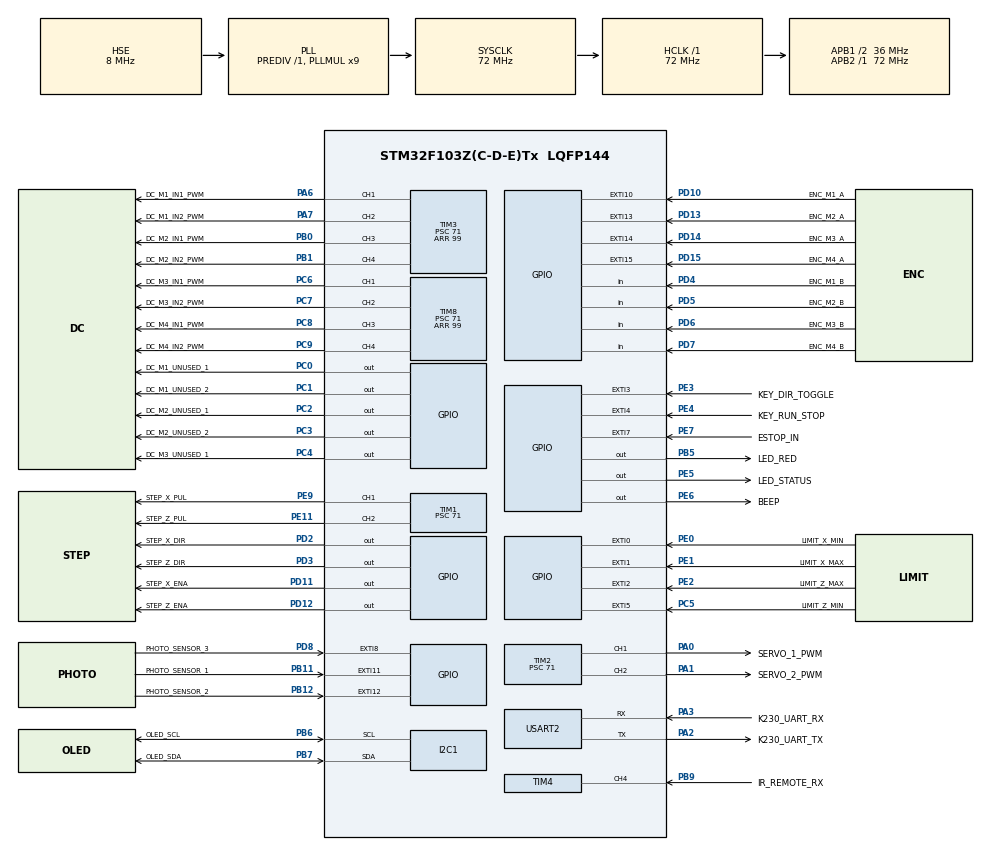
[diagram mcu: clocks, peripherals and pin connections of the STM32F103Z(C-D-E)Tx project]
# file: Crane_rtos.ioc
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Dma.Request0=USART2_RX
Dma.Request1=USART2_TX
Dma.USART2_RX.0.Direction=DMA_PERIPH_TO_MEMORY
Dma.USART2_RX.0.Instance=DMA1_Channel6
Dma.USART2_RX.0.MemDataAlignment=DMA_MDATAALIGN_BYTE
Dma.USART2_RX.0.MemInc=DMA_MINC_ENABLE
Dma.USART2_RX.0.Mode=DMA_NORMAL
Dma.USART2_RX.0.PeriphDataAlignment=DMA_PDATAALIGN_BYTE
Dma.USART2_RX.0.PeriphInc=DMA_PINC_DISABLE
Dma.USART2_RX.0.Priority=DMA_PRIORITY_LOW
Dma.USART2_TX.1.Direction=DMA_MEMORY_TO_PERIPH
Dma.USART2_TX.1.Instance=DMA1_Channel7
Dma.USART2_TX.1.MemDataAlignment=DMA_MDATAALIGN_BYTE
Dma.USART2_TX.1.MemInc=DMA_MINC_ENABLE
Dma.USART2_TX.1.Mode=DMA_NORMAL
Dma.USART2_TX.1.PeriphDataAlignment=DMA_PDATAALIGN_BYTE
Dma.USART2_TX.1.PeriphInc=DMA_PINC_DISABLE
Dma.USART2_TX.1.Priority=DMA_PRIORITY_LOW
FREERTOS.Tasks01=APP_CTRL,24,192,StartAppCtrlTask,Default,NULL,Dynamic,NULL,NULL;DC_MOTOR,32,256,StartDcMotorTask,Default,NULL,Dynamic,NULL,NULL;K230_RX,24,256,StartK230RxTask,Default,NULL,Dynamic,NULL,NULL;INPUT_EVT,32,192,StartInputEvtTask,Default,NULL,Dynamic,NULL,NULL;OLED,8,256,StartOledTask,Default,NULL,Dynamic,NULL,NULL;IR_REMOTE,24,192,StartInfraredTask,Default,NULL,Dynamic,NULL,NULL
FREERTOS.configTOTAL_HEAP_SIZE=12288
Mcu.Family=STM32F1
Mcu.Name=STM32F103Z(C-D-E)Tx
Mcu.Package=LQFP144
NVIC.DMA1_Channel6_IRQn=true\:5\:0\:false\:false\:true\:true\:false\:true\:true
NVIC.DMA1_Channel7_IRQn=true\:5\:0\:false\:false\:true\:true\:false\:true\:true
NVIC.EXTI0_IRQn=true\:5\:0\:false\:false\:true\:true\:true\:true\:true
NVIC.EXTI15_10_IRQn=true\:5\:0\:false\:false\:true\:true\:true\:true\:true
NVIC.EXTI1_IRQn=true\:5\:0\:false\:false\:true\:true\:true\:true\:true
NVIC.EXTI2_IRQn=true\:5\:0\:false\:false\:true\:true\:true\:true\:true
NVIC.EXTI3_IRQn=true\:5\:0\:false\:false\:true\:true\:true\:true\:true
NVIC.EXTI4_IRQn=true\:5\:0\:false\:false\:true\:true\:true\:true\:true
NVIC.EXTI9_5_IRQn=true\:5\:0\:false\:false\:true\:true\:true\:true\:true
NVIC.PriorityGroup=NVIC_PRIORITYGROUP_4
NVIC.TIM1_CC_IRQn=true\:5\:0\:false\:false\:true\:true\:true\:true\:true
NVIC.TIM4_IRQn=true\:5\:0\:false\:false\:true\:true\:true\:true\:true
NVIC.TIM5_IRQn=true\:15\:0\:false\:false\:true\:false\:false\:true\:true
NVIC.TimeBase=TIM5_IRQn
NVIC.TimeBaseIP=TIM5
NVIC.USART2_IRQn=true\:5\:0\:false\:false\:true\:true\:true\:true\:true
OSC_IN.Mode=HSE-External-Oscillator
OSC_IN.Signal=RCC_OSC_IN
OSC_OUT.Mode=HSE-External-Oscillator
OSC_OUT.Signal=RCC_OSC_OUT
PA0-WKUP.GPIO_Label=SERVO_1_PWM
PA0-WKUP.Signal=S_TIM2_CH1_ETR
PA1.GPIO_Label=SERVO_2_PWM
PA1.Signal=S_TIM2_CH2
PA13.Mode=Serial_Wire
PA13.Signal=SYS_JTMS-SWDIO
PA14.Mode=Serial_Wire
PA14.Signal=SYS_JTCK-SWCLK
PA2.GPIO_Label=K230_UART_TX
PA2.Mode=Asynchronous
PA2.Signal=USART2_TX
PA3.GPIO_Label=K230_UART_RX
PA3.Mode=Asynchronous
PA3.Signal=USART2_RX
PA6.GPIO_Label=DC_M1_IN1_PWM
PA6.Signal=S_TIM3_CH1
PA7.GPIO_Label=DC_M1_IN2_PWM
PA7.Signal=S_TIM3_CH2
PB0.GPIO_Label=DC_M2_IN1_PWM
PB0.Signal=S_TIM3_CH3
PB1.GPIO_Label=DC_M2_IN2_PWM
PB1.Signal=S_TIM3_CH4
PB11.GPIO_Label=PHOTO_SENSOR_1
PB11.GPIO_ModeDefaultEXTI=GPIO_MODE_IT_RISING_FALLING
PB11.GPIO_PuPd=GPIO_PULLUP
PB11.Signal=GPXTI11
PB12.GPIO_Label=PHOTO_SENSOR_2
PB12.GPIO_ModeDefaultEXTI=GPIO_MODE_IT_RISING_FALLING
PB12.GPIO_PuPd=GPIO_PULLUP
PB12.Signal=GPXTI12
PB5.GPIO_Label=LED_RED
PB5.GPIO_PuPd=GPIO_PULLUP
PB5.PinState=GPIO_PIN_SET
PB5.Signal=GPIO_Output
PB6.GPIO_Label=OLED_SCL
PB6.Mode=I2C
PB6.Signal=I2C1_SCL
PB7.GPIO_Label=OLED_SDA
PB7.Mode=I2C
PB7.Signal=I2C1_SDA
PB8.GPIO_Label=CAMERA_TILT_PWM
PB8.Signal=S_TIM4_CH3
PB9.GPIO_Label=IR_REMOTE_RX
PB9.GPIO_PuPd=GPIO_PULLUP
PB9.Signal=S_TIM4_CH4
PC0.GPIO_Label=DC_M1_UNUSED_1
PC0.Signal=GPIO_Output
PC1.GPIO_Label=DC_M1_UNUSED_2
PC1.Signal=GPIO_Output
PC2.GPIO_Label=DC_M2_UNUSED_1
PC2.Signal=GPIO_Output
PC3.GPIO_Label=DC_M2_UNUSED_2
PC3.Signal=GPIO_Output
PC4.GPIO_Label=DC_M3_UNUSED_1
PC4.Signal=GPIO_Output
PC5.GPIO_Label=LIMIT_Z_MIN
PC5.GPIO_ModeDefaultEXTI=GPIO_MODE_IT_RISING
PC5.GPIO_PuPd=GPIO_PULLDOWN
PC5.Signal=GPXTI5
PC6.GPIO_Label=DC_M3_IN1_PWM
PC6.Signal=S_TIM8_CH1
PC7.GPIO_Label=DC_M3_IN2_PWM
PC7.Signal=S_TIM8_CH2
PC8.GPIO_Label=DC_M4_IN1_PWM
PC8.Signal=S_TIM8_CH3
PC9.GPIO_Label=DC_M4_IN2_PWM
PC9.Signal=S_TIM8_CH4
PD10.GPIO_Label=ENC_M1_A
PD10.GPIO_ModeDefaultEXTI=GPIO_MODE_IT_RISING
PD10.GPIO_PuPd=GPIO_PULLUP
PD10.Signal=GPXTI10
PD11.GPIO_Label=STEP_X_ENA
PD11.GPIO_PuPd=GPIO_PULLDOWN
PD11.PinState=GPIO_PIN_SET
PD11.Signal=GPIO_Output
PD12.GPIO_Label=STEP_Z_ENA
PD12.PinState=GPIO_PIN_RESET
PD12.Signal=GPIO_Output
PD13.GPIO_Label=ENC_M2_A
PD13.GPIO_ModeDefaultEXTI=GPIO_MODE_IT_RISING
PD13.GPIO_PuPd=GPIO_PULLUP
PD13.Signal=GPXTI13
PD14.GPIO_Label=ENC_M3_A
PD14.GPIO_ModeDefaultEXTI=GPIO_MODE_IT_RISING
PD14.GPIO_PuPd=GPIO_PULLUP
PD14.Signal=GPXTI14
PD15.GPIO_Label=ENC_M4_A
PD15.GPIO_ModeDefaultEXTI=GPIO_MODE_IT_RISING
PD15.GPIO_PuPd=GPIO_PULLUP
PD15.Signal=GPXTI15
PD2.GPIO_Label=STEP_X_DIR
PD2.GPIO_PuPd=GPIO_PULLDOWN
PD2.PinState=GPIO_PIN_RESET
PD2.Signal=GPIO_Output
PD3.GPIO_Label=STEP_Z_DIR
PD3.GPIO_PuPd=GPIO_PULLDOWN
PD3.Signal=GPIO_Output
PD4.GPIO_Label=ENC_M1_B
PD4.GPIO_PuPd=GPIO_PULLUP
PD4.Signal=GPIO_Input
PD5.GPIO_Label=ENC_M2_B
PD5.GPIO_PuPd=GPIO_PULLUP
PD5.Signal=GPIO_Input
PD6.GPIO_Label=ENC_M3_B
PD6.GPIO_PuPd=GPIO_PULLUP
PD6.Signal=GPIO_Input
PD7.GPIO_Label=ENC_M4_B
PD7.GPIO_PuPd=GPIO_PULLUP
PD7.Signal=GPIO_Input
PD8.GPIO_Label=PHOTO_SENSOR_3
PD8.GPIO_ModeDefaultEXTI=GPIO_MODE_IT_RISING_FALLING
PD8.GPIO_PuPd=GPIO_PULLUP
PD8.Signal=GPXTI8
PE0.GPIO_Label=LIMIT_X_MIN
PE0.GPIO_ModeDefaultEXTI=GPIO_MODE_IT_RISING
PE0.GPIO_PuPd=GPIO_PULLDOWN
PE0.Signal=GPXTI0
PE1.GPIO_Label=LIMIT_X_MAX
PE1.GPIO_ModeDefaultEXTI=GPIO_MODE_IT_RISING
PE1.GPIO_PuPd=GPIO_PULLDOWN
PE1.Signal=GPXTI1
PE11.GPIO_Label=STEP_Z_PUL
PE11.Signal=S_TIM1_CH2
PE2.GPIO_Label=LIMIT_Z_MAX
PE2.GPIO_ModeDefaultEXTI=GPIO_MODE_IT_RISING
PE2.GPIO_PuPd=GPIO_PULLDOWN
PE2.Signal=GPXTI2
PE3.GPIO_Label=KEY_DIR_TOGGLE
PE3.GPIO_ModeDefaultEXTI=GPIO_MODE_IT_FALLING
PE3.GPIO_PuPd=GPIO_PULLUP
PE3.Signal=GPXTI3
PE4.GPIO_Label=KEY_RUN_STOP
PE4.GPIO_ModeDefaultEXTI=GPIO_MODE_IT_FALLING
PE4.GPIO_PuPd=GPIO_PULLUP
PE4.Signal=GPXTI4
PE5.GPIO_Label=LED_STATUS
PE5.GPIO_PuPd=GPIO_PULLDOWN
PE5.PinState=GPIO_PIN_RESET
PE5.Signal=GPIO_Output
PE6.GPIO_Label=BEEP
PE6.GPIO_PuPd=GPIO_PULLDOWN
PE6.GPIO_Speed=GPIO_SPEED_FREQ_LOW
PE6.PinState=GPIO_PIN_RESET
PE6.Signal=GPIO_Output
PE7.GPIO_Label=ESTOP_IN
PE7.GPIO_ModeDefaultEXTI=GPIO_MODE_IT_FALLING
PE7.GPIO_PuPd=GPIO_PULLUP
PE7.Signal=GPXTI7
PE9.GPIO_Label=STEP_X_PUL
PE9.Signal=S_TIM1_CH1
ProjectManager.HeapSize=0x200
ProjectManager.StackSize=0x400
ProjectManager.TargetToolchain=CMake
RCC.AHBFreq_Value=72000000
RCC.APB1CLKDivider=RCC_HCLK_DIV2
RCC.APB1Freq_Value=36000000
RCC.APB1TimFreq_Value=72000000
RCC.APB2Freq_Value=72000000
RCC.APB2TimFreq_Value=72000000
RCC.HCLKFreq_Value=72000000
RCC.PLLMUL=RCC_PLL_MUL9
RCC.PLLSourceVirtual=RCC_PLLSOURCE_HSE
RCC.SYSCLKFreq_VALUE=72000000
RCC.SYSCLKSource=RCC_SYSCLKSOURCE_PLLCLK
RCC.USBFreq_Value=72000000
SH.S_TIM1_CH1.0=TIM1_CH1,PWM Generation1 CH1
SH.S_TIM1_CH2.0=TIM1_CH2,PWM Generation2 CH2
SH.S_TIM2_CH1_ETR.0=TIM2_CH1,PWM Generation1 CH1
SH.S_TIM2_CH2.0=TIM2_CH2,PWM Generation2 CH2
SH.S_TIM3_CH1.0=TIM3_CH1,PWM Generation1 CH1
SH.S_TIM3_CH2.0=TIM3_CH2,PWM Generation2 CH2
SH.S_TIM3_CH3.0=TIM3_CH3,PWM Generation3 CH3
SH.S_TIM3_CH4.0=TIM3_CH4,PWM Generation4 CH4
SH.S_TIM4_CH4.0=TIM4_CH4,Input_Capture4_from_TI4
SH.S_TIM8_CH1.0=TIM8_CH1,PWM Generation1 CH1
SH.S_TIM8_CH2.0=TIM8_CH2,PWM Generation2 CH2
SH.S_TIM8_CH3.0=TIM8_CH3,PWM Generation3 CH3
SH.S_TIM8_CH4.0=TIM8_CH4,PWM Generation4 CH4
TIM1.AutoReloadPreload=TIM_AUTORELOAD_PRELOAD_ENABLE
TIM1.Channel-PWM\ Generation1\ CH1=TIM_CHANNEL_1
TIM1.Channel-PWM\ Generation2\ CH2=TIM_CHANNEL_2
TIM1.Period=399
TIM1.Prescaler=71
TIM2.AutoReloadPreload=TIM_AUTORELOAD_PRELOAD_ENABLE
TIM2.Channel-PWM\ Generation1\ CH1=TIM_CHANNEL_1
TIM2.Channel-PWM\ Generation2\ CH2=TIM_CHANNEL_2
TIM2.Period=\ 19999 
TIM2.Prescaler=71
TIM2.Pulse-PWM\ Generation1\ CH1=1500
TIM3.Channel-PWM\ Generation1\ CH1=TIM_CHANNEL_1
TIM3.Channel-PWM\ Generation2\ CH2=TIM_CHANNEL_2
TIM3.Channel-PWM\ Generation3\ CH3=TIM_CHANNEL_3
TIM3.Channel-PWM\ Generation4\ CH4=TIM_CHANNEL_4
TIM3.Period=99
TIM3.Prescaler=71
TIM4.Channel-Input_Capture4_from_TI4=TIM_CHANNEL_4
TIM4.Channel-PWM\ Generation3\ CH3=TIM_CHANNEL_3
TIM4.ICFilter_CH4=3
TIM4.ICPolarity_CH4=TIM_INPUTCHANNELPOLARITY_RISING
TIM4.Period=19999
TIM4.Prescaler=71
TIM4.Pulse-PWM\ Generation3\ CH3=1700
TIM8.AutoReloadPreload=TIM_AUTORELOAD_PRELOAD_DISABLE
TIM8.Channel-PWM\ Generation1\ CH1=TIM_CHANNEL_1
TIM8.Channel-PWM\ Generation2\ CH2=TIM_CHANNEL_2
TIM8.Channel-PWM\ Generation3\ CH3=TIM_CHANNEL_3
TIM8.Channel-PWM\ Generation4\ CH4=TIM_CHANNEL_4
TIM8.Period=99
TIM8.Prescaler=71
USART2.VirtualMode=VM_ASYNC
VP_FREERTOS_VS_CMSIS_V2.Mode=CMSIS_V2
VP_SYS_VS_tim5.Mode=TIM5
VP_TIM1_VS_ClockSourceINT.Mode=Internal
VP_TIM2_VS_ClockSourceINT.Mode=Internal
VP_TIM3_VS_ClockSourceINT.Mode=Internal
VP_TIM4_VS_ClockSourceINT.Mode=Internal
board=custom

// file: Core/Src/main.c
/* USER CODE BEGIN Header */
/**
  ******************************************************************************
  * @file           : main.c
  * @brief          : Main program body
  ******************************************************************************
  * @attention
  *
  * Copyright (c) 2026 STMicroelectronics.
  * All rights reserved.
  *
  * This software is licensed under terms that can be found in the LICENSE file
  * in the root directory of this software component.
  * If no LICENSE file comes with this software, it is provided AS-IS.
  *
  ******************************************************************************
  */
/* USER CODE END Header */
#include "main.h"
#include "cmsis_os.h"

/* USER CODE BEGIN Includes */
#include "app_config.h"
#include "app_state.h"
#include "bean_pickup_demo.h"
#include "bean_sequence_demo.h"
#include "xy_waypoint_demo.h"
#include "box_calibration.h"
#include "chassis_motion.h"
#include "buzzer.h"
#include "dc_motor.h"
#include "drop_demo.h"
#include "encoder.h"
#include "input_manager.h"
#include "infrared_remote.h"
#include "initialization_debug.h"
#include "k230_link.h"
#include "motor_control.h"
#include "odometry_calibration.h"
#include "robot_controller.h"
#include "safety_manager.h"
#include "servo_control.h"
#include "camera_tilt.h"
#include "photo_sensor.h"
#include "stepper_axis.h"
#include "ui_manager.h"
#include "z_calibration.h"
#include "vision_route_demo.h"

/* USER CODE END Includes */

I2C_HandleTypeDef hi2c1;

TIM_HandleTypeDef htim1;
TIM_HandleTypeDef htim2;
TIM_HandleTypeDef htim3;
TIM_HandleTypeDef htim4;
TIM_HandleTypeDef htim8;

UART_HandleTypeDef huart2;
DMA_HandleTypeDef hdma_usart2_rx;
DMA_HandleTypeDef hdma_usart2_tx;

/* Definitions for APP_CTRL */
osThreadId_t APP_CTRLHandle;
const osThreadAttr_t APP_CTRL_attributes = {
  .name = "APP_CTRL",
  .stack_size = 192 * 4,
  .priority = (osPriority_t) osPriorityNormal,
};
/* Definitions for DC_MOTOR */
osThreadId_t DC_MOTORHandle;
const osThreadAttr_t DC_MOTOR_attributes = {
  .name = "DC_MOTOR",
  .stack_size = 256 * 4,
  .priority = (osPriority_t) osPriorityAboveNormal,
};
/* Definitions for K230_RX */
osThreadId_t K230_RXHandle;
const osThreadAttr_t K230_RX_attributes = {
  .name = "K230_RX",
  .stack_size = 256 * 4,
  .priority = (osPriority_t) osPriorityNormal,
};
/* Definitions for INPUT_EVT */
osThreadId_t INPUT_EVTHandle;
const osThreadAttr_t INPUT_EVT_attributes = {
  .name = "INPUT_EVT",
  .stack_size = 192 * 4,
  .priority = (osPriority_t) osPriorityAboveNormal,
};
/* Definitions for OLED */
osThreadId_t OLEDHandle;
const osThreadAttr_t OLED_attributes = {
  .name = "OLED",
  .stack_size = 256 * 4,
  .priority = (osPriority_t) osPriorityLow,
};
/* Definitions for IR_REMOTE */
osThreadId_t IR_REMOTEHandle;
const osThreadAttr_t IR_REMOTE_attributes = {
  .name = "IR_REMOTE",
  .stack_size = 192 * 4,
  .priority = (osPriority_t) osPriorityNormal,
};

void SystemClock_Config(void);
static void MX_GPIO_Init(void);
static void MX_DMA_Init(void);
static void MX_TIM2_Init(void);
static void MX_I2C1_Init(void);
static void MX_TIM1_Init(void);
static void MX_USART2_UART_Init(void);
static void MX_TIM3_Init(void);
static void MX_TIM8_Init(void);
static void MX_TIM4_Init(void);
void StartAppCtrlTask(void *argument);
void StartDcMotorTask(void *argument);
void StartK230RxTask(void *argument);
void StartInputEvtTask(void *argument);
void StartOledTask(void *argument);
void StartInfraredTask(void *argument);

/* USER CODE BEGIN 0 */

/* 业务逻辑位于 Core/Src 独立模块，main.c 仅保留硬件初始化与任务入口。 */

/* USER CODE END 0 */

int main(void)
{

  /* MCU Configuration--------------------------------------------------------*/

  /* Reset of all peripherals, Initializes the Flash interface and the Systick. */
  HAL_Init();

  /* Configure the system clock */
  SystemClock_Config();

  /* Initialize all configured peripherals */
  MX_GPIO_Init();
  MX_DMA_Init();
  MX_TIM2_Init();
  MX_I2C1_Init();
  MX_TIM1_Init();
  MX_USART2_UART_Init();
  MX_TIM3_Init();
  MX_TIM8_Init();
  MX_TIM4_Init();
  /* USER CODE BEGIN 2 */
  AppConfig_Init();
  AppState_Init();
  Encoder_Init();
  SafetyManager_Init();
  PhotoSensor_Init();
  Buzzer_Init();
  ServoControl_Init(&htim2);
  StepperAxis_Init(&htim1);
  ChassisMotion_Init();
  OdometryCalibration_Init();
  RobotController_Init();
  BoxCalibration_Init();
  ZCalibration_Init();
  InitializationDebug_Init();
  BeanPickupDemo_Init();
  BeanSequenceDemo_Init();
  XyWaypointDemo_Init();
  DropDemo_Init();
  VisionRouteDemo_Init();
  if (InfraredRemote_Init(&htim4) != HAL_OK)
  {
    Error_Handler();
  }
  /* TIM4捕获ISR不调用RTOS API，可在运行期高于编码器/光电门EXTI。
   * 保留IOC优先级5以满足CubeMX检查，此USER CODE覆盖可跨代码生成保留。 */
  HAL_NVIC_SetPriority(TIM4_IRQn, 4U, 0U);
  if (HAL_TIM_PWM_Start(&htim4, TIM_CHANNEL_3) != HAL_OK)
  {
    Error_Handler();
  }
  CameraTilt_Init(&htim4);

  if (HAL_TIM_PWM_Start(&htim2, TIM_CHANNEL_1) != HAL_OK)
  {
    Error_Handler();
  }
  if (HAL_TIM_PWM_Start(&htim2, TIM_CHANNEL_2) != HAL_OK)
  {
    Error_Handler();
  }
  ServoControl_ResetToInitial(0U);
  ServoControl_ResetToInitial(1U);

  if (HAL_TIM_PWM_Start(&htim1, TIM_CHANNEL_1) != HAL_OK)
  {
    Error_Handler();
  }
  if (HAL_TIM_PWM_Start(&htim1, TIM_CHANNEL_2) != HAL_OK)
  {
    Error_Handler();
  }
  StepperAxis_StopAll();
  /* StopAll用于清理PWM状态；随后恢复Z轴静态保持，防止夹爪下滑。 */
  StepperAxis_SetHoldWhenStopped(STEPPER_AXIS_Z, 1U);

  if (HAL_TIM_PWM_Start(&htim3, TIM_CHANNEL_1) != HAL_OK)
  {
    Error_Handler();
  }
  if (HAL_TIM_PWM_Start(&htim3, TIM_CHANNEL_2) != HAL_OK)
  {
    Error_Handler();
  }
  if (HAL_TIM_PWM_Start(&htim3, TIM_CHANNEL_3) != HAL_OK)
  {
    Error_Handler();
  }
  if (HAL_TIM_PWM_Start(&htim3, TIM_CHANNEL_4) != HAL_OK)
  {
    Error_Handler();
  }
  if (HAL_TIM_PWM_Start(&htim8, TIM_CHANNEL_1) != HAL_OK)
  {
    Error_Handler();
  }
  if (HAL_TIM_PWM_Start(&htim8, TIM_CHANNEL_2) != HAL_OK)
  {
    Error_Handler();
  }
  if (HAL_TIM_PWM_Start(&htim8, TIM_CHANNEL_3) != HAL_OK)
  {
    Error_Handler();
  }
  if (HAL_TIM_PWM_Start(&htim8, TIM_CHANNEL_4) != HAL_OK)
  {
    Error_Handler();
  }
  __HAL_TIM_SET_COMPARE(&htim3, TIM_CHANNEL_1, 0U);
  __HAL_TIM_SET_COMPARE(&htim3, TIM_CHANNEL_2, 0U);
  __HAL_TIM_SET_COMPARE(&htim3, TIM_CHANNEL_3, 0U);
  __HAL_TIM_SET_COMPARE(&htim3, TIM_CHANNEL_4, 0U);
  __HAL_TIM_SET_COMPARE(&htim8, TIM_CHANNEL_1, 0U);
  __HAL_TIM_SET_COMPARE(&htim8, TIM_CHANNEL_2, 0U);
  __HAL_TIM_SET_COMPARE(&htim8, TIM_CHANNEL_3, 0U);
  __HAL_TIM_SET_COMPARE(&htim8, TIM_CHANNEL_4, 0U);
  DcMotor_Init(&htim3, &htim8);
  MotorControl_Init();

  /* USER CODE END 2 */

  /* Init scheduler */
  osKernelInitialize();

  /* Create the thread(s) */
  /* creation of APP_CTRL */
  APP_CTRLHandle = osThreadNew(StartAppCtrlTask, NULL, &APP_CTRL_attributes);

  /* creation of DC_MOTOR */
  DC_MOTORHandle = osThreadNew(StartDcMotorTask, NULL, &DC_MOTOR_attributes);

  /* creation of K230_RX */
  K230_RXHandle = osThreadNew(StartK230RxTask, NULL, &K230_RX_attributes);

  /* creation of INPUT_EVT */
  INPUT_EVTHandle = osThreadNew(StartInputEvtTask, NULL, &INPUT_EVT_attributes);

  /* creation of OLED */
  OLEDHandle = osThreadNew(StartOledTask, NULL, &OLED_attributes);

  /* creation of IR_REMOTE */
  IR_REMOTEHandle = osThreadNew(StartInfraredTask, NULL, &IR_REMOTE_attributes);

  /* USER CODE BEGIN RTOS_THREADS */
  if ((APP_CTRLHandle == NULL) || (DC_MOTORHandle == NULL) ||
      (K230_RXHandle == NULL) || (INPUT_EVTHandle == NULL) ||
      (OLEDHandle == NULL) || (IR_REMOTEHandle == NULL))
  {
    Error_Handler();
  }
  /* USER CODE END RTOS_THREADS */

  /* USER CODE BEGIN RTOS_EVENTS */
  InputManager_Init();
  K230Link_Init(&huart2);
  /* USER CODE END RTOS_EVENTS */

  /* Start scheduler */
  osKernelStart();

  /* We should never get here as control is now taken by the scheduler */

  /* Infinite loop */
  while (1)
  {

  }
}

void SystemClock_Config(void)
{
  RCC_OscInitTypeDef RCC_OscInitStruct = {0};
  RCC_ClkInitTypeDef RCC_ClkInitStruct = {0};

  /** Initializes the RCC Oscillators according to the specified parameters
  * in the RCC_OscInitTypeDef structure.
  */
  RCC_OscInitStruct.OscillatorType = RCC_OSCILLATORTYPE_HSE;
  RCC_OscInitStruct.HSEState = RCC_HSE_ON;
  RCC_OscInitStruct.HSEPredivValue = RCC_HSE_PREDIV_DIV1;
  RCC_OscInitStruct.HSIState = RCC_HSI_ON;
  RCC_OscInitStruct.PLL.PLLState = RCC_PLL_ON;
  RCC_OscInitStruct.PLL.PLLSource = RCC_PLLSOURCE_HSE;
  RCC_OscInitStruct.PLL.PLLMUL = RCC_PLL_MUL9;
  if (HAL_RCC_OscConfig(&RCC_OscInitStruct) != HAL_OK)
  {
    Error_Handler();
  }

  /** Initializes the CPU, AHB and APB buses clocks
  */
  RCC_ClkInitStruct.ClockType = RCC_CLOCKTYPE_HCLK|RCC_CLOCKTYPE_SYSCLK
                              |RCC_CLOCKTYPE_PCLK1|RCC_CLOCKTYPE_PCLK2;
  RCC_ClkInitStruct.SYSCLKSource = RCC_SYSCLKSOURCE_PLLCLK;
  RCC_ClkInitStruct.AHBCLKDivider = RCC_SYSCLK_DIV1;
  RCC_ClkInitStruct.APB1CLKDivider = RCC_HCLK_DIV2;
  RCC_ClkInitStruct.APB2CLKDivider = RCC_HCLK_DIV1;

  if (HAL_RCC_ClockConfig(&RCC_ClkInitStruct, FLASH_LATENCY_2) != HAL_OK)
  {
    Error_Handler();
  }
}

static void MX_I2C1_Init(void)
{

  hi2c1.Instance = I2C1;
  hi2c1.Init.ClockSpeed = 100000;
  hi2c1.Init.DutyCycle = I2C_DUTYCYCLE_2;
  hi2c1.Init.OwnAddress1 = 0;
  hi2c1.Init.AddressingMode = I2C_ADDRESSINGMODE_7BIT;
  hi2c1.Init.DualAddressMode = I2C_DUALADDRESS_DISABLE;
  hi2c1.Init.OwnAddress2 = 0;
  hi2c1.Init.GeneralCallMode = I2C_GENERALCALL_DISABLE;
  hi2c1.Init.NoStretchMode = I2C_NOSTRETCH_DISABLE;
  if (HAL_I2C_Init(&hi2c1) != HAL_OK)
  {
    Error_Handler();
  }

}

static void MX_TIM1_Init(void)
{

  TIM_ClockConfigTypeDef sClockSourceConfig = {0};
  TIM_MasterConfigTypeDef sMasterConfig = {0};
  TIM_OC_InitTypeDef sConfigOC = {0};
  TIM_BreakDeadTimeConfigTypeDef sBreakDeadTimeConfig = {0};

  htim1.Instance = TIM1;
  htim1.Init.Prescaler = 71;
  htim1.Init.CounterMode = TIM_COUNTERMODE_UP;
  htim1.Init.Period = 399;
  htim1.Init.ClockDivision = TIM_CLOCKDIVISION_DIV1;
  htim1.Init.RepetitionCounter = 0;
  htim1.Init.AutoReloadPreload = TIM_AUTORELOAD_PRELOAD_ENABLE;
  if (HAL_TIM_Base_Init(&htim1) != HAL_OK)
  {
    Error_Handler();
  }
  sClockSourceConfig.ClockSource = TIM_CLOCKSOURCE_INTERNAL;
  if (HAL_TIM_ConfigClockSource(&htim1, &sClockSourceConfig) != HAL_OK)
  {
    Error_Handler();
  }
  if (HAL_TIM_PWM_Init(&htim1) != HAL_OK)
  {
    Error_Handler();
  }
  sMasterConfig.MasterOutputTrigger = TIM_TRGO_RESET;
  sMasterConfig.MasterSlaveMode = TIM_MASTERSLAVEMODE_DISABLE;
  if (HAL_TIMEx_MasterConfigSynchronization(&htim1, &sMasterConfig) != HAL_OK)
  {
    Error_Handler();
  }
  sConfigOC.OCMode = TIM_OCMODE_PWM1;
  sConfigOC.Pulse = 0;
  sConfigOC.OCPolarity = TIM_OCPOLARITY_HIGH;
  sConfigOC.OCNPolarity = TIM_OCNPOLARITY_HIGH;
  sConfigOC.OCFastMode = TIM_OCFAST_DISABLE;
  sConfigOC.OCIdleState = TIM_OCIDLESTATE_RESET;
  sConfigOC.OCNIdleState = TIM_OCNIDLESTATE_RESET;
  if (HAL_TIM_PWM_ConfigChannel(&htim1, &sConfigOC, TIM_CHANNEL_1) != HAL_OK)
  {
    Error_Handler();
  }
  if (HAL_TIM_PWM_ConfigChannel(&htim1, &sConfigOC, TIM_CHANNEL_2) != HAL_OK)
  {
    Error_Handler();
  }
  sBreakDeadTimeConfig.OffStateRunMode = TIM_OSSR_DISABLE;
  sBreakDeadTimeConfig.OffStateIDLEMode = TIM_OSSI_DISABLE;
  sBreakDeadTimeConfig.LockLevel = TIM_LOCKLEVEL_OFF;
  sBreakDeadTimeConfig.DeadTime = 0;
  sBreakDeadTimeConfig.BreakState = TIM_BREAK_DISABLE;
  sBreakDeadTimeConfig.BreakPolarity = TIM_BREAKPOLARITY_HIGH;
  sBreakDeadTimeConfig.AutomaticOutput = TIM_AUTOMATICOUTPUT_DISABLE;
  if (HAL_TIMEx_ConfigBreakDeadTime(&htim1, &sBreakDeadTimeConfig) != HAL_OK)
  {
    Error_Handler();
  }
  HAL_TIM_MspPostInit(&htim1);

}

static void MX_TIM2_Init(void)
{

  TIM_ClockConfigTypeDef sClockSourceConfig = {0};
  TIM_MasterConfigTypeDef sMasterConfig = {0};
  TIM_OC_InitTypeDef sConfigOC = {0};

  htim2.Instance = TIM2;
  htim2.Init.Prescaler = 71;
  htim2.Init.CounterMode = TIM_COUNTERMODE_UP;
  htim2.Init.Period = 19999 ;
  htim2.Init.ClockDivision = TIM_CLOCKDIVISION_DIV1;
  htim2.Init.AutoReloadPreload = TIM_AUTORELOAD_PRELOAD_ENABLE;
  if (HAL_TIM_Base_Init(&htim2) != HAL_OK)
  {
    Error_Handler();
  }
  sClockSourceConfig.ClockSource = TIM_CLOCKSOURCE_INTERNAL;
  if (HAL_TIM_ConfigClockSource(&htim2, &sClockSourceConfig) != HAL_OK)
  {
    Error_Handler();
  }
  if (HAL_TIM_PWM_Init(&htim2) != HAL_OK)
  {
    Error_Handler();
  }
  sMasterConfig.MasterOutputTrigger = TIM_TRGO_RESET;
  sMasterConfig.MasterSlaveMode = TIM_MASTERSLAVEMODE_DISABLE;
  if (HAL_TIMEx_MasterConfigSynchronization(&htim2, &sMasterConfig) != HAL_OK)
  {
    Error_Handler();
  }
  sConfigOC.OCMode = TIM_OCMODE_PWM1;
  sConfigOC.Pulse = 1500;
  sConfigOC.OCPolarity = TIM_OCPOLARITY_HIGH;
  sConfigOC.OCFastMode = TIM_OCFAST_DISABLE;
  if (HAL_TIM_PWM_ConfigChannel(&htim2, &sConfigOC, TIM_CHANNEL_1) != HAL_OK)
  {
    Error_Handler();
  }
  sConfigOC.Pulse = 0;
  if (HAL_TIM_PWM_ConfigChannel(&htim2, &sConfigOC, TIM_CHANNEL_2) != HAL_OK)
  {
    Error_Handler();
  }
  HAL_TIM_MspPostInit(&htim2);

}

static void MX_TIM3_Init(void)
{

  TIM_ClockConfigTypeDef sClockSourceConfig = {0};
  TIM_MasterConfigTypeDef sMasterConfig = {0};
  TIM_OC_InitTypeDef sConfigOC = {0};

  htim3.Instance = TIM3;
  htim3.Init.Prescaler = 71;
  htim3.Init.CounterMode = TIM_COUNTERMODE_UP;
  htim3.Init.Period = 99;
  htim3.Init.ClockDivision = TIM_CLOCKDIVISION_DIV1;
  htim3.Init.AutoReloadPreload = TIM_AUTORELOAD_PRELOAD_DISABLE;
  if (HAL_TIM_Base_Init(&htim3) != HAL_OK)
  {
    Error_Handler();
  }
  sClockSourceConfig.ClockSource = TIM_CLOCKSOURCE_INTERNAL;
  if (HAL_TIM_ConfigClockSource(&htim3, &sClockSourceConfig) != HAL_OK)
  {
    Error_Handler();
  }
  if (HAL_TIM_PWM_Init(&htim3) != HAL_OK)
  {
    Error_Handler();
  }
  sMasterConfig.MasterOutputTrigger = TIM_TRGO_RESET;
  sMasterConfig.MasterSlaveMode = TIM_MASTERSLAVEMODE_DISABLE;
  if (HAL_TIMEx_MasterConfigSynchronization(&htim3, &sMasterConfig) != HAL_OK)
  {
    Error_Handler();
  }
  sConfigOC.OCMode = TIM_OCMODE_PWM1;
  sConfigOC.Pulse = 0;
  sConfigOC.OCPolarity = TIM_OCPOLARITY_HIGH;
  sConfigOC.OCFastMode = TIM_OCFAST_DISABLE;
  if (HAL_TIM_PWM_ConfigChannel(&htim3, &sConfigOC, TIM_CHANNEL_1) != HAL_OK)
  {
    Error_Handler();
  }
  if (HAL_TIM_PWM_ConfigChannel(&htim3, &sConfigOC, TIM_CHANNEL_2) != HAL_OK)
  {
    Error_Handler();
  }
  if (HAL_TIM_PWM_ConfigChannel(&htim3, &sConfigOC, TIM_CHANNEL_3) != HAL_OK)
  {
    Error_Handler();
  }
  if (HAL_TIM_PWM_ConfigChannel(&htim3, &sConfigOC, TIM_CHANNEL_4) != HAL_OK)
  {
    Error_Handler();
  }
  HAL_TIM_MspPostInit(&htim3);

}

static void MX_TIM4_Init(void)
{

  TIM_ClockConfigTypeDef sClockSourceConfig = {0};
  TIM_MasterConfigTypeDef sMasterConfig = {0};
  TIM_IC_InitTypeDef sConfigIC = {0};

  htim4.Instance = TIM4;
  htim4.Init.Prescaler = 71;
  htim4.Init.CounterMode = TIM_COUNTERMODE_UP;
  htim4.Init.Period = 19999;
  htim4.Init.ClockDivision = TIM_CLOCKDIVISION_DIV1;
  htim4.Init.AutoReloadPreload = TIM_AUTORELOAD_PRELOAD_DISABLE;
  if (HAL_TIM_Base_Init(&htim4) != HAL_OK)
  {
    Error_Handler();
  }
  sClockSourceConfig.ClockSource = TIM_CLOCKSOURCE_INTERNAL;
  if (HAL_TIM_ConfigClockSource(&htim4, &sClockSourceConfig) != HAL_OK)
  {
    Error_Handler();
  }
  if (HAL_TIM_IC_Init(&htim4) != HAL_OK)
  {
    Error_Handler();
  }
  sMasterConfig.MasterOutputTrigger = TIM_TRGO_RESET;
  sMasterConfig.MasterSlaveMode = TIM_MASTERSLAVEMODE_DISABLE;
  if (HAL_TIMEx_MasterConfigSynchronization(&htim4, &sMasterConfig) != HAL_OK)
  {
    Error_Handler();
  }
  sConfigIC.ICPolarity = TIM_INPUTCHANNELPOLARITY_RISING;
  sConfigIC.ICSelection = TIM_ICSELECTION_DIRECTTI;
  sConfigIC.ICPrescaler = TIM_ICPSC_DIV1;
  sConfigIC.ICFilter = 3;
  if (HAL_TIM_IC_ConfigChannel(&htim4, &sConfigIC, TIM_CHANNEL_4) != HAL_OK)
  {
    Error_Handler();
  }
  /* USER CODE BEGIN TIM4_Init 2 */
  /* TIM4 是通用定时器，不支持 BOTHEDGE 硬件捕获。
   * 初始化为下降沿捕获（9ms 引导码起始沿），
   * 由 InfraredRemote_HandleCapture 每次捕获后翻转极性。 */
  __HAL_TIM_SET_CAPTUREPOLARITY(&htim4, TIM_CHANNEL_4, TIM_INPUTCHANNELPOLARITY_FALLING);

  /* USER CODE END TIM4_Init 2 */

}

static void MX_TIM8_Init(void)
{

  TIM_MasterConfigTypeDef sMasterConfig = {0};
  TIM_OC_InitTypeDef sConfigOC = {0};
  TIM_BreakDeadTimeConfigTypeDef sBreakDeadTimeConfig = {0};

  htim8.Instance = TIM8;
  htim8.Init.Prescaler = 71;
  htim8.Init.CounterMode = TIM_COUNTERMODE_UP;
  htim8.Init.Period = 99;
  htim8.Init.ClockDivision = TIM_CLOCKDIVISION_DIV1;
  htim8.Init.RepetitionCounter = 0;
  htim8.Init.AutoReloadPreload = TIM_AUTORELOAD_PRELOAD_DISABLE;
  if (HAL_TIM_PWM_Init(&htim8) != HAL_OK)
  {
    Error_Handler();
  }
  sMasterConfig.MasterOutputTrigger = TIM_TRGO_RESET;
  sMasterConfig.MasterSlaveMode = TIM_MASTERSLAVEMODE_DISABLE;
  if (HAL_TIMEx_MasterConfigSynchronization(&htim8, &sMasterConfig) != HAL_OK)
  {
    Error_Handler();
  }
  sConfigOC.OCMode = TIM_OCMODE_PWM1;
  sConfigOC.Pulse = 0;
  sConfigOC.OCPolarity = TIM_OCPOLARITY_HIGH;
  sConfigOC.OCNPolarity = TIM_OCNPOLARITY_HIGH;
  sConfigOC.OCFastMode = TIM_OCFAST_DISABLE;
  sConfigOC.OCIdleState = TIM_OCIDLESTATE_RESET;
  sConfigOC.OCNIdleState = TIM_OCNIDLESTATE_RESET;
  if (HAL_TIM_PWM_ConfigChannel(&htim8, &sConfigOC, TIM_CHANNEL_1) != HAL_OK)
  {
    Error_Handler();
  }
  if (HAL_TIM_PWM_ConfigChannel(&htim8, &sConfigOC, TIM_CHANNEL_2) != HAL_OK)
  {
    Error_Handler();
  }
  if (HAL_TIM_PWM_ConfigChannel(&htim8, &sConfigOC, TIM_CHANNEL_3) != HAL_OK)
  {
    Error_Handler();
  }
  if (HAL_TIM_PWM_ConfigChannel(&htim8, &sConfigOC, TIM_CHANNEL_4) != HAL_OK)
  {
    Error_Handler();
  }
  sBreakDeadTimeConfig.OffStateRunMode = TIM_OSSR_DISABLE;
  sBreakDeadTimeConfig.OffStateIDLEMode = TIM_OSSI_DISABLE;
  sBreakDeadTimeConfig.LockLevel = TIM_LOCKLEVEL_OFF;
  sBreakDeadTimeConfig.DeadTime = 0;
  sBreakDeadTimeConfig.BreakState = TIM_BREAK_DISABLE;
  sBreakDeadTimeConfig.BreakPolarity = TIM_BREAKPOLARITY_HIGH;
  sBreakDeadTimeConfig.AutomaticOutput = TIM_AUTOMATICOUTPUT_DISABLE;
  if (HAL_TIMEx_ConfigBreakDeadTime(&htim8, &sBreakDeadTimeConfig) != HAL_OK)
  {
    Error_Handler();
  }
  HAL_TIM_MspPostInit(&htim8);

}

static void MX_USART2_UART_Init(void)
{

  huart2.Instance = USART2;
  huart2.Init.BaudRate = 115200;
  huart2.Init.WordLength = UART_WORDLENGTH_8B;
  huart2.Init.StopBits = UART_STOPBITS_1;
  huart2.Init.Parity = UART_PARITY_NONE;
  huart2.Init.Mode = UART_MODE_TX_RX;
  huart2.Init.HwFlowCtl = UART_HWCONTROL_NONE;
  huart2.Init.OverSampling = UART_OVERSAMPLING_16;
  if (HAL_UART_Init(&huart2) != HAL_OK)
  {
    Error_Handler();
  }

}

static void MX_DMA_Init(void)
{

  /* DMA controller clock enable */
  __HAL_RCC_DMA1_CLK_ENABLE();

  /* DMA interrupt init */
  /* DMA1_Channel6_IRQn interrupt configuration */
  HAL_NVIC_SetPriority(DMA1_Channel6_IRQn, 5, 0);
  HAL_NVIC_EnableIRQ(DMA1_Channel6_IRQn);
  /* DMA1_Channel7_IRQn interrupt configuration */
  HAL_NVIC_SetPriority(DMA1_Channel7_IRQn, 5, 0);
  HAL_NVIC_EnableIRQ(DMA1_Channel7_IRQn);

}

static void MX_GPIO_Init(void)
{
  GPIO_InitTypeDef GPIO_InitStruct = {0};

  /* GPIO Ports Clock Enable */
  __HAL_RCC_GPIOE_CLK_ENABLE();
  __HAL_RCC_GPIOC_CLK_ENABLE();
  __HAL_RCC_GPIOA_CLK_ENABLE();
  __HAL_RCC_GPIOB_CLK_ENABLE();
  __HAL_RCC_GPIOD_CLK_ENABLE();

  /*Configure GPIO pin Output Level */
  HAL_GPIO_WritePin(GPIOE, LED_STATUS_Pin|BEEP_Pin, GPIO_PIN_RESET);

  /*Configure GPIO pin Output Level */
  HAL_GPIO_WritePin(GPIOC, DC_M1_UNUSED_1_Pin|DC_M1_UNUSED_2_Pin|DC_M2_UNUSED_1_Pin|DC_M2_UNUSED_2_Pin
                          |DC_M3_UNUSED_1_Pin, GPIO_PIN_RESET);

  /*Configure GPIO pin Output Level */
  HAL_GPIO_WritePin(STEP_X_ENA_GPIO_Port, STEP_X_ENA_Pin, GPIO_PIN_SET);

  /*Configure GPIO pin Output Level */
  HAL_GPIO_WritePin(GPIOD, STEP_Z_ENA_Pin|STEP_X_DIR_Pin|STEP_Z_DIR_Pin, GPIO_PIN_RESET);

  /*Configure GPIO pin Output Level */
  HAL_GPIO_WritePin(LED_RED_GPIO_Port, LED_RED_Pin, GPIO_PIN_SET);

  /*Configure GPIO pins : LIMIT_Z_MAX_Pin LIMIT_X_MIN_Pin LIMIT_X_MAX_Pin */
  GPIO_InitStruct.Pin = LIMIT_Z_MAX_Pin|LIMIT_X_MIN_Pin|LIMIT_X_MAX_Pin;
  GPIO_InitStruct.Mode = GPIO_MODE_IT_RISING;
  GPIO_InitStruct.Pull = GPIO_PULLDOWN;
  HAL_GPIO_Init(GPIOE, &GPIO_InitStruct);

  /*Configure GPIO pins : KEY_DIR_TOGGLE_Pin KEY_RUN_STOP_Pin ESTOP_IN_Pin */
  GPIO_InitStruct.Pin = KEY_DIR_TOGGLE_Pin|KEY_RUN_STOP_Pin|ESTOP_IN_Pin;
  GPIO_InitStruct.Mode = GPIO_MODE_IT_FALLING;
  GPIO_InitStruct.Pull = GPIO_PULLUP;
  HAL_GPIO_Init(GPIOE, &GPIO_InitStruct);

  /*Configure GPIO pins : LED_STATUS_Pin BEEP_Pin */
  GPIO_InitStruct.Pin = LED_STATUS_Pin|BEEP_Pin;
  GPIO_InitStruct.Mode = GPIO_MODE_OUTPUT_PP;
  GPIO_InitStruct.Pull = GPIO_PULLDOWN;
  GPIO_InitStruct.Speed = GPIO_SPEED_FREQ_LOW;
  HAL_GPIO_Init(GPIOE, &GPIO_InitStruct);

  /*Configure GPIO pins : DC_M1_UNUSED_1_Pin DC_M1_UNUSED_2_Pin DC_M2_UNUSED_1_Pin DC_M2_UNUSED_2_Pin
                           DC_M3_UNUSED_1_Pin */
  GPIO_InitStruct.Pin = DC_M1_UNUSED_1_Pin|DC_M1_UNUSED_2_Pin|DC_M2_UNUSED_1_Pin|DC_M2_UNUSED_2_Pin
                          |DC_M3_UNUSED_1_Pin;
  GPIO_InitStruct.Mode = GPIO_MODE_OUTPUT_PP;
  GPIO_InitStruct.Pull = GPIO_NOPULL;
  GPIO_InitStruct.Speed = GPIO_SPEED_FREQ_LOW;
  HAL_GPIO_Init(GPIOC, &GPIO_InitStruct);

  /*Configure GPIO pin : LIMIT_Z_MIN_Pin */
  GPIO_InitStruct.Pin = LIMIT_Z_MIN_Pin;
  GPIO_InitStruct.Mode = GPIO_MODE_IT_RISING;
  GPIO_InitStruct.Pull = GPIO_PULLDOWN;
  HAL_GPIO_Init(LIMIT_Z_MIN_GPIO_Port, &GPIO_InitStruct);

  /*Configure GPIO pins : PHOTO_SENSOR_1_Pin PHOTO_SENSOR_2_Pin */
  GPIO_InitStruct.Pin = PHOTO_SENSOR_1_Pin|PHOTO_SENSOR_2_Pin;
  GPIO_InitStruct.Mode = GPIO_MODE_IT_RISING_FALLING;
  GPIO_InitStruct.Pull = GPIO_PULLUP;
  HAL_GPIO_Init(GPIOB, &GPIO_InitStruct);

  /*Configure GPIO pin : PHOTO_SENSOR_3_Pin */
  GPIO_InitStruct.Pin = PHOTO_SENSOR_3_Pin;
  GPIO_InitStruct.Mode = GPIO_MODE_IT_RISING_FALLING;
  GPIO_InitStruct.Pull = GPIO_PULLUP;
  HAL_GPIO_Init(PHOTO_SENSOR_3_GPIO_Port, &GPIO_InitStruct);

  /*Configure GPIO pins : ENC_M1_A_Pin ENC_M2_A_Pin ENC_M3_A_Pin ENC_M4_A_Pin */
  GPIO_InitStruct.Pin = ENC_M1_A_Pin|ENC_M2_A_Pin|ENC_M3_A_Pin|ENC_M4_A_Pin;
  GPIO_InitStruct.Mode = GPIO_MODE_IT_RISING;
  GPIO_InitStruct.Pull = GPIO_PULLUP;
  HAL_GPIO_Init(GPIOD, &GPIO_InitStruct);

  /*Configure GPIO pins : STEP_X_ENA_Pin STEP_X_DIR_Pin STEP_Z_DIR_Pin */
  GPIO_InitStruct.Pin = STEP_X_ENA_Pin|STEP_X_DIR_Pin|STEP_Z_DIR_Pin;
  GPIO_InitStruct.Mode = GPIO_MODE_OUTPUT_PP;
  GPIO_InitStruct.Pull = GPIO_PULLDOWN;
  GPIO_InitStruct.Speed = GPIO_SPEED_FREQ_LOW;
  HAL_GPIO_Init(GPIOD, &GPIO_InitStruct);

  /*Configure GPIO pin : STEP_Z_ENA_Pin */
  GPIO_InitStruct.Pin = STEP_Z_ENA_Pin;
  GPIO_InitStruct.Mode = GPIO_MODE_OUTPUT_PP;
  GPIO_InitStruct.Pull = GPIO_NOPULL;
  GPIO_InitStruct.Speed = GPIO_SPEED_FREQ_LOW;
  HAL_GPIO_Init(STEP_Z_ENA_GPIO_Port, &GPIO_InitStruct);

  /*Configure GPIO pins : ENC_M1_B_Pin ENC_M2_B_Pin ENC_M3_B_Pin ENC_M4_B_Pin */
  GPIO_InitStruct.Pin = ENC_M1_B_Pin|ENC_M2_B_Pin|ENC_M3_B_Pin|ENC_M4_B_Pin;
  GPIO_InitStruct.Mode = GPIO_MODE_INPUT;
  GPIO_InitStruct.Pull = GPIO_PULLUP;
  HAL_GPIO_Init(GPIOD, &GPIO_InitStruct);

  /*Configure GPIO pin : LED_RED_Pin */
  GPIO_InitStruct.Pin = LED_RED_Pin;
  GPIO_InitStruct.Mode = GPIO_MODE_OUTPUT_PP;
  GPIO_InitStruct.Pull = GPIO_PULLUP;
  GPIO_InitStruct.Speed = GPIO_SPEED_FREQ_LOW;
  HAL_GPIO_Init(LED_RED_GPIO_Port, &GPIO_InitStruct);

  /*Configure GPIO pin : CAMERA_TILT_PWM_Pin */
  GPIO_InitStruct.Pin = CAMERA_TILT_PWM_Pin;
  GPIO_InitStruct.Mode = GPIO_MODE_AF_PP;
  GPIO_InitStruct.Speed = GPIO_SPEED_FREQ_LOW;
  HAL_GPIO_Init(CAMERA_TILT_PWM_GPIO_Port, &GPIO_InitStruct);

  /* EXTI interrupt init*/
  HAL_NVIC_SetPriority(EXTI0_IRQn, 5, 0);
  HAL_NVIC_EnableIRQ(EXTI0_IRQn);

  HAL_NVIC_SetPriority(EXTI1_IRQn, 5, 0);
  HAL_NVIC_EnableIRQ(EXTI1_IRQn);

  HAL_NVIC_SetPriority(EXTI2_IRQn, 5, 0);
  HAL_NVIC_EnableIRQ(EXTI2_IRQn);

  HAL_NVIC_SetPriority(EXTI3_IRQn, 5, 0);
  HAL_NVIC_EnableIRQ(EXTI3_IRQn);

  HAL_NVIC_SetPriority(EXTI4_IRQn, 5, 0);
  HAL_NVIC_EnableIRQ(EXTI4_IRQn);

  HAL_NVIC_SetPriority(EXTI9_5_IRQn, 5, 0);
  HAL_NVIC_EnableIRQ(EXTI9_5_IRQn);

  HAL_NVIC_SetPriority(EXTI15_10_IRQn, 5, 0);
  HAL_NVIC_EnableIRQ(EXTI15_10_IRQn);

}

/* USER CODE BEGIN 4 */

void HAL_GPIO_EXTI_Callback(uint16_t GPIO_Pin)
{
  if ((GPIO_Pin == ENC_M1_A_Pin) || (GPIO_Pin == ENC_M2_A_Pin) ||
      (GPIO_Pin == ENC_M3_A_Pin) || (GPIO_Pin == ENC_M4_A_Pin))
  {
    Encoder_HandleExti(GPIO_Pin);
  }
  else if (GPIO_Pin == ESTOP_IN_Pin)
  {
    SafetyManager_TriggerEstop();
    InputManager_HandleExti(GPIO_Pin);
  }
  else if ((GPIO_Pin == PHOTO_SENSOR_1_Pin) ||
           (GPIO_Pin == PHOTO_SENSOR_2_Pin) ||
           (GPIO_Pin == PHOTO_SENSOR_3_Pin))
  {
    PhotoSensor_HandleExti(GPIO_Pin);
  }
  else
  {
    SafetyManager_HandleExti(GPIO_Pin);
    InputManager_HandleExti(GPIO_Pin);
  }
}

void HAL_UARTEx_RxEventCallback(UART_HandleTypeDef *huart, uint16_t Size)
{
  K230Link_HandleRxEvent(huart, Size);
}

void HAL_UART_TxCpltCallback(UART_HandleTypeDef *huart)
{
  K230Link_HandleTxComplete(huart);
}

void HAL_UART_ErrorCallback(UART_HandleTypeDef *huart)
{
  K230Link_HandleError(huart);
}

void HAL_TIM_IC_CaptureCallback(TIM_HandleTypeDef *htim)
{
  InfraredRemote_HandleCapture(htim);
}

void HAL_TIM_PWM_PulseFinishedCallback(TIM_HandleTypeDef *htim)
{
  StepperAxis_HandlePulseFinished(htim);
}

/* USER CODE END 4 */

/* USER CODE BEGIN Header_StartAppCtrlTask */
/**
  * @brief  Application state/control task.
  * @param  argument: Not used
  * @retval None
  */
/* USER CODE END Header_StartAppCtrlTask */
void StartAppCtrlTask(void *argument)
{
  /* USER CODE BEGIN 5 */
  uint32_t next_tick = osKernelGetTickCount();
  for(;;)
  {
    RobotController_Update();
    OdometryCalibration_Process();
    InitializationDebug_Process();
    BeanPickupDemo_Process();
    BeanSequenceDemo_Process();
    XyWaypointDemo_Process();
    DropDemo_Process();
    VisionRouteDemo_Process();
    StepperAxis_UpdateTelemetry();
    next_tick += 10U;
    osDelayUntil(next_tick);
  }
  /* USER CODE END 5 */
}

/* USER CODE BEGIN Header_StartDcMotorTask */
/**
  * @brief  Four-wheel DC motor control task.
  * @param  argument: Not used
  * @retval None
  */
/* USER CODE END Header_StartDcMotorTask */
void StartDcMotorTask(void *argument)
{
  /* USER CODE BEGIN StartDcMotorTask */
  uint32_t next_tick = osKernelGetTickCount();
  for (;;)
  {
    AppConfig config;
    AppConfig_GetSnapshot(&config);
    ChassisMotion_TaskStep();
    next_tick += config.motor_control_period_ms;
    osDelayUntil(next_tick);
  }
  /* USER CODE END StartDcMotorTask */
}

/* USER CODE BEGIN Header_StartK230RxTask */
/**
  * @brief  K230 binary protocol receive, parse, and request task.
  * @param  argument: Not used
  * @retval None
  */
/* USER CODE END Header_StartK230RxTask */
void StartK230RxTask(void *argument)
{
  /* USER CODE BEGIN StartK230RxTask */
  K230Link_Task();
  /* USER CODE END StartK230RxTask */
}

/* USER CODE BEGIN Header_StartInputEvtTask */
/**
  * @brief  Button, limit, and safety input event task.
  * @param  argument: Not used
  * @retval None
  */
/* USER CODE END Header_StartInputEvtTask */
void StartInputEvtTask(void *argument)
{
  /* USER CODE BEGIN StartInputEvtTask */
  InputManager_Task();
  /* USER CODE END StartInputEvtTask */
}

/* USER CODE BEGIN Header_StartOledTask */
/**
  * @brief  OLED status display task.
  * @param  argument: Not used
  * @retval None
  */
/* USER CODE END Header_StartOledTask */
void StartOledTask(void *argument)
{
  /* USER CODE BEGIN StartOledTask */
  AppConfig config;
  uint32_t next_tick;

  osDelay(20);
  UiManager_Init(&hi2c1);
  next_tick = osKernelGetTickCount();

  for (;;)
  {
    /* 显示任务只负责刷新 UI，不直接驱动舵机或电机。 */
    AppConfig_GetSnapshot(&config);
    UiManager_Render();
    next_tick += config.ui_refresh_period_ms;
    osDelayUntil(next_tick);
  }
  /* USER CODE END StartOledTask */
}

/* USER CODE BEGIN Header_StartInfraredTask */
/**
  * @brief  NEC infrared command dispatch task.
  * @param  argument: Not used
  * @retval None
  */
/* USER CODE END Header_StartInfraredTask */
void StartInfraredTask(void *argument)
{
  /* USER CODE BEGIN StartInfraredTask */
  uint32_t next_tick = osKernelGetTickCount();
  for (;;)
  {
    /* 所有通过 NEC 校验的按键码均由此处取走并统一分发。 */
    InfraredRemote_Process();
    Buzzer_Process();
    next_tick += 10U;
    osDelayUntil(next_tick);
  }
  /* USER CODE END StartInfraredTask */
}

void HAL_TIM_PeriodElapsedCallback(TIM_HandleTypeDef *htim)
{
  if (htim->Instance == TIM5)
  {
    HAL_IncTick();
  }
}

void Error_Handler(void)
{
  __disable_irq();
  while (1)
  {
  }
}
